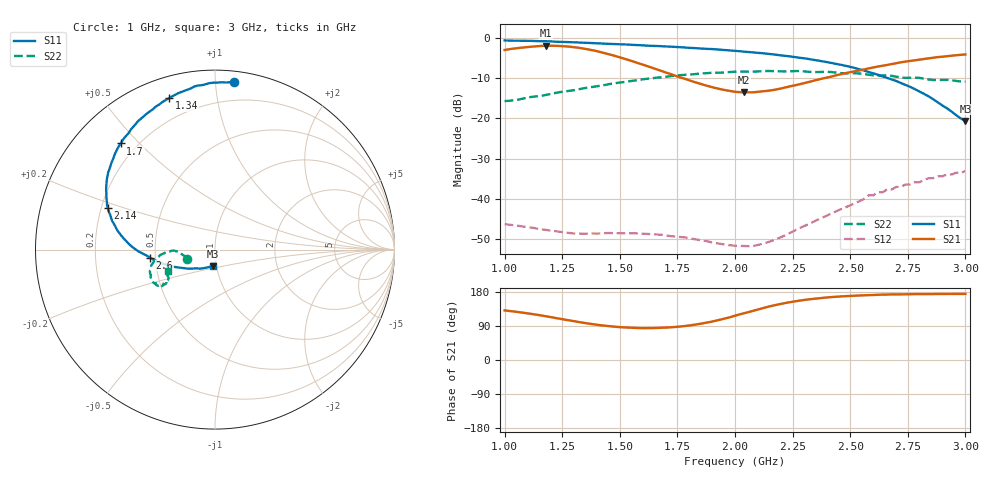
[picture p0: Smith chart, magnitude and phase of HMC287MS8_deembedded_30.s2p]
!Hittite Microwave Corporation
!12 Elizabeth Drive
!Chelmsford, MA 01824
!Tel: 978-250-3343
!Fax: 978-250-3373
!Device: HMC287MS8, 2.3-2.5 GHz LNA with AGC in 8-lead Grounded Base surface Mount Plastic Package
!Misc: Vdd = +3V Idd = 9.6 mA Vctl = 3.0V , DEEMBEDDED TO THE PINS OF THE DEVICE
# MHZ S MA R 50
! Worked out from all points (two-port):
!   101 points, 1 GHz to 3 GHz, reference 50 ohm
!   highest |S21| = -1.85 dB at 1.18 GHz (marker M1); lowest = -13.5 dB at 2.04 GHz (marker M2)
!   |S21| within 3 dB of the highest: start of sweep to 1.506 GHz; 2.86 GHz to end of sweep
!   lowest |S11| = -20.6 dB at 3 GHz (marker M3), VSWR 1.21, Z = 48 - j8.92 ohm
!   |S11| at or under -10 dB: 2.667 GHz to end of sweep
!   |S22| runs from -15.7 to -8.2 dB; largest |S21 - S12| = 0.81
!   S11 on the Smith chart (normalised r, x): 1 GHz: 0.07, +1.12; 1.34 GHz: 0.10, +0.74; 1.7 GHz: 0.14, +0.44; 2.14 GHz: 0.23, +0.18; 2.6 GHz: 0.47, -0.05; 3 GHz: 0.96, -0.18
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1000  0.94 83.5  0.714 130.9  0.004784 155.0  0.165 -160.7
1100  0.93 90.6  0.778 123.1  0.004405 162.7  0.183 -170.8
1180  0.919 95.9  0.808 115.4  0.004069 170.0  0.197 -175.5
1260  0.899 101.6  0.795 106.7  0.003779 -179.9  0.217 -177.6
1340  0.881 106.9  0.746 98.4  0.003646 -167.1  0.237 -178.6
1420  0.862 112.6  0.669 91.5  0.003687 -156.8  0.257 -177.8
1500  0.842 118.1  0.579 86.8  0.003706 -147.6  0.281 -176.2
1680  0.797 130.3  0.392 85.0  0.003537 -129.8  0.327 -171.7
1700  0.791 131.6  0.374 85.5  0.003468 -127.7  0.331 -171.3
1880  0.738 143.1  0.255 99.0  0.002935 -103.4  0.368 -165.4
2000  0.698 150.3  0.215 116.8  0.002586 -78.0  0.383 -161.4
2040  0.681 152.7  0.212 123.4  0.00256 -66.9  0.385 -159.5
2080  0.666 155.1  0.212 130.0  0.002568 -55.2  0.384 -158.4
2140  0.642 158.7  0.221 139.9  0.002844 -37.4  0.391 -156.4
2340  0.539 170.3  0.295 161.3  0.005134 2.9  0.379 -150.4
2540  0.411 -177.5  0.398 170.3  0.009288 23.6  0.364 -146.2
2580  0.38 -174.8  0.421 171.2  0.011 26.0  0.351 -145.5
2600  0.366 -173.1  0.432 171.5  0.011 26.4  0.345 -146.0
2620  0.351 -171.1  0.444 172.1  0.012 26.5  0.344 -146.6
2680  0.307 -165.6  0.477 173.0  0.013 28.1  0.34 -145.3
2840  0.189 -146.1  0.562 173.9  0.018 34.0  0.306 -148.0
3000  0.093 -97.7  0.629 174.3  0.022 39.7  0.288 -155.6
